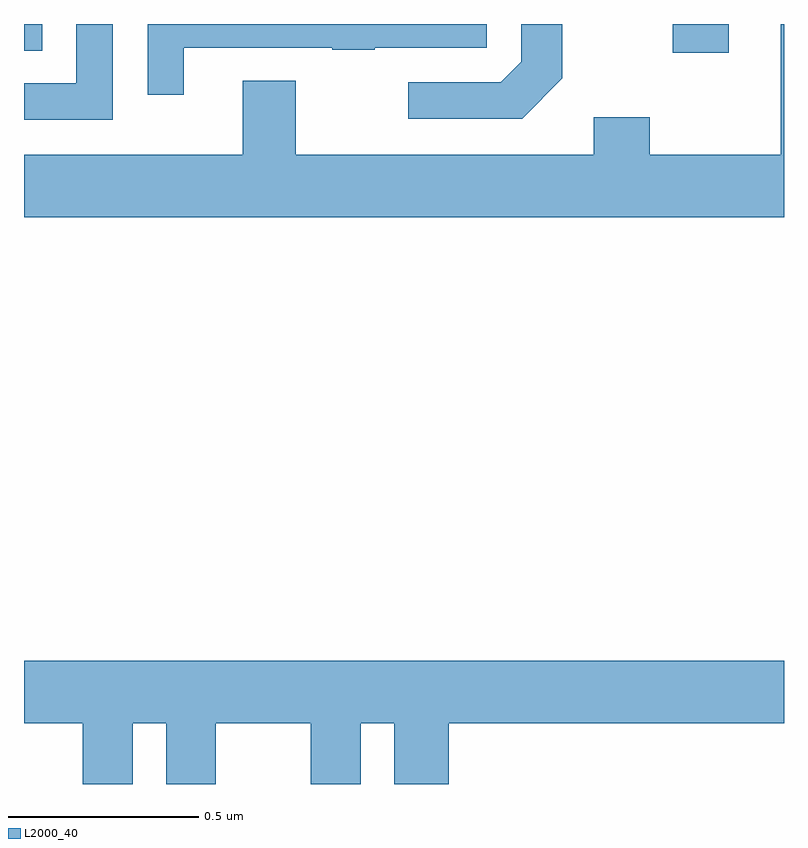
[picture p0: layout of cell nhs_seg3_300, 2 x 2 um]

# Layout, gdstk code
import gdstk
lib = gdstk.Library(unit=1e-6, precision=1e-09)
def R(c, l, rs):  # rectangles x0, y0, x1, y1
    for r in rs: c.add(gdstk.rectangle(r[:2], r[2:], *l))
def P(c, l, *ps):  # polygons
    for p in ps: c.add(gdstk.Polygon(p, *l))
L2000_40 = (2000, 40)

nhs_seg3_300 = lib.new_cell('nhs_seg3_300')
R(nhs_seg3_300, L2000_40, [(115.707,725.325,115.855,725.4), (114,725.329,114.048,725.4)])
P(nhs_seg3_300, L2000_40, [(116,725.4),(115.991,725.4),(115.991,725.056),(115.647,725.056),(115.647,725.155),(115.499,725.155),(115.499,725.056),(114.715,725.056),(114.715,725.251),(114.575,725.251),(114.575,725.056),(114,725.056),(114,724.892),(116,724.892)],
  [(114.421,725.337),(114.811,725.337),(114.811,725.332),(114.923,725.332),(114.923,725.337),(115.218,725.337),(115.218,725.4),(114.325,725.4),(114.325,725.214),(114.421,725.214)],
  [(115.417,725.257),(115.417,725.4),(115.308,725.4),(115.308,725.301),(115.254,725.247),(115.011,725.247),(115.011,725.151),(115.311,725.151)],
  [(114.234,725.4),(114.138,725.4),(114.138,725.244),(114,725.244),(114,725.148),(114.234,725.148)],
  [(114.286,723.56),(114.374,723.56),(114.374,723.4),(114.505,723.4),(114.505,723.56),(114.755,723.56),(114.755,723.4),(114.886,723.4),(114.886,723.56),(114.974,723.56),(114.974,723.4),(115.118,723.4),(115.118,723.56),(116,723.56),(116,723.724),(114,723.724),(114,723.56),(114.155,723.56),(114.155,723.4),(114.286,723.4)])

lib.write_gds('nhs_seg3_300.gds')
